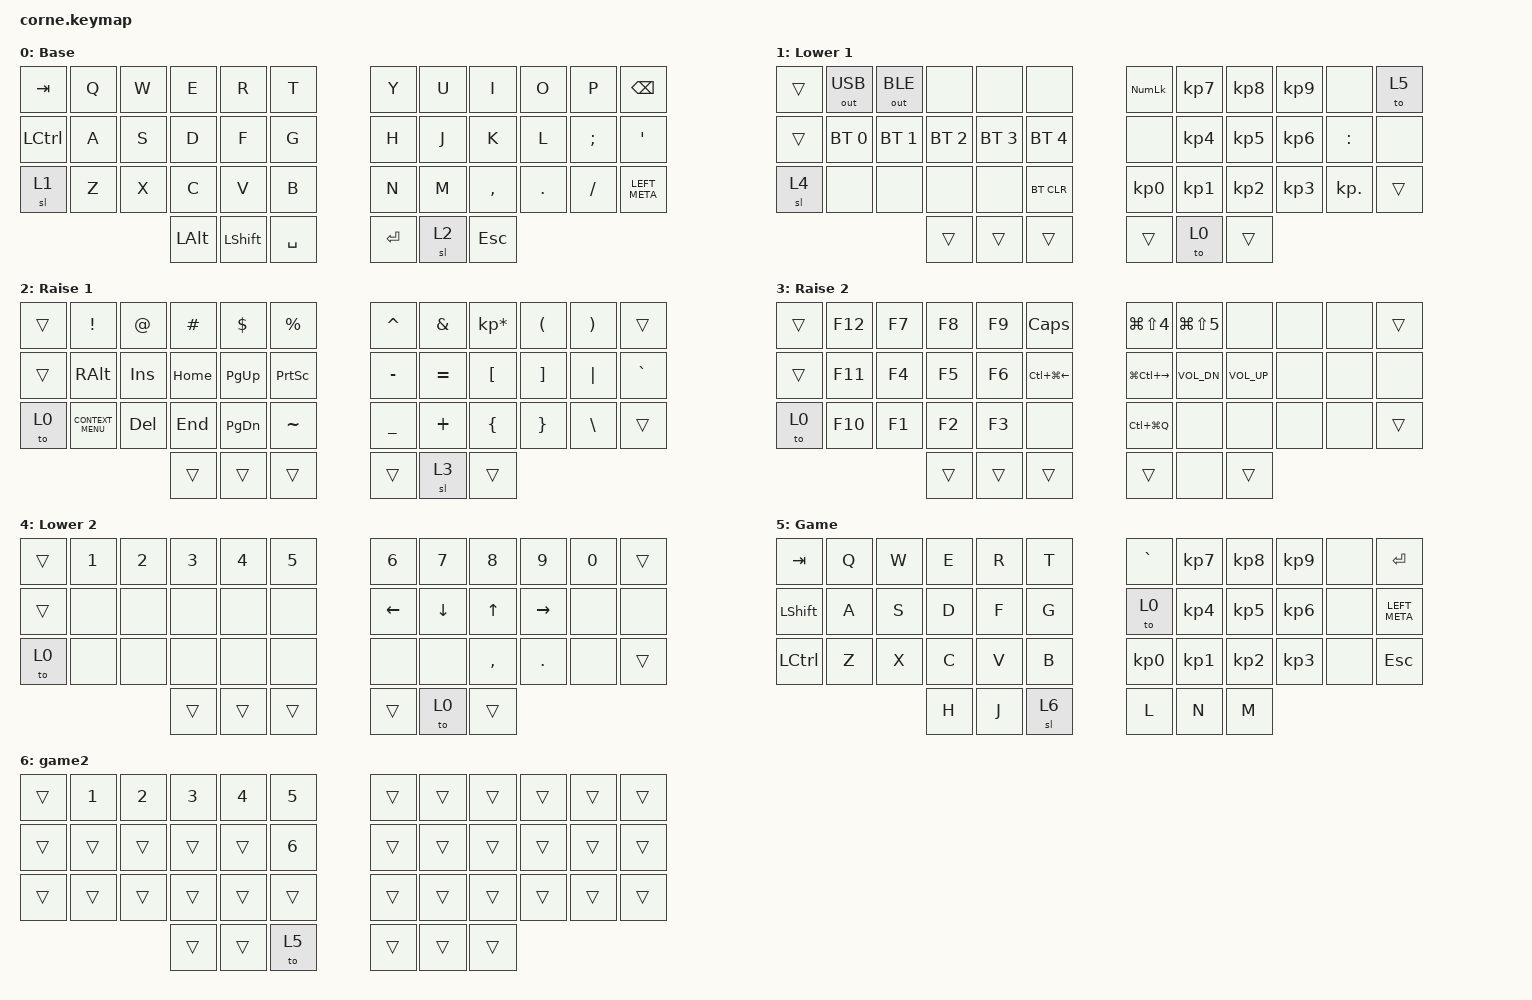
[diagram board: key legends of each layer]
/*
 * Copyright (c) 2020 The ZMK Contributors
 *
 * SPDX-License-Identifier: MIT
 */

#include <behaviors.dtsi>
#include <dt-bindings/zmk/bt.h>
#include <dt-bindings/zmk/keys.h>
#include <dt-bindings/zmk/outputs.h>

/ {
    combos { compatible = "zmk,combos"; };

    behaviors {
        bhv_left: bhv_left {
            compatible = "zmk,behavior-mod-morph";
            label = "BHV_LEFT";
            bindings = <&kp H>, <&kp LEFT>;

            #binding-cells = <0>;
            mods = <(MOD_LALT)>;
        };

        bhv_right: bhv_right {
            compatible = "zmk,behavior-mod-morph";
            label = "BHV_RIGHT";
            bindings = <&kp L>, <&kp RIGHT>;

            #binding-cells = <0>;
            mods = <(MOD_LALT)>;
        };

        bhv_down: bhv_down {
            compatible = "zmk,behavior-mod-morph";
            label = "BHV_DOWN";
            bindings = <&kp J>, <&kp DOWN>;

            #binding-cells = <0>;
            mods = <(MOD_LALT)>;
        };

        bhv_up: bhv_up {
            compatible = "zmk,behavior-mod-morph";
            label = "BHV_UP";
            bindings = <&kp K>, <&kp UP>;

            #binding-cells = <0>;
            mods = <(MOD_LALT)>;
        };
    };

    keymap {
        compatible = "zmk,keymap";

        base {
            // -----------------------------------------------------------------------------------------
            // |  TAB |  Q  |  W  |  E  |  R  |  T  |   |  Y  |  U   |  I  |  O  |  P  | BKSP |
            // | CTRL |  A  |  S  |  D  |  F  |  G  |   |  H  |  J   |  K  |  L  |  ;  |  '   |
            // | SHFT |  Z  |  X  |  C  |  V  |  B  |   |  N  |  M   |  ,  |  .  |  /  | ESC  |
            //                    | GUI | LWR | SPC |   | ENT | RSE  | ALT |

            display-name = "Base";
            bindings = <
&kp TAB    &kp Q  &kp W  &kp E         &kp R           &kp T        &kp Y      &kp U  &kp I       &kp O    &kp P     &kp BACKSPACE
&kp LCTRL  &kp A  &kp S  &kp D         &kp F           &kp G        &kp H      &kp J  &kp K       &kp L    &kp SEMI  &kp SQT
&sl 1      &kp Z  &kp X  &kp C         &kp V           &kp B        &kp N      &kp M  &kp COMMA   &kp DOT  &kp FSLH  &kp LEFT_META
                         &kp LEFT_ALT  &kp LEFT_SHIFT  &kp SPACE    &kp ENTER  &sl 2  &kp ESCAPE
            >;
        };

        l1 {
            // -----------------------------------------------------------------------------------------
            // |  TAB |  1  |  2  |  3  |  4  |  5  |   |  6  |  7  |  8  |  9  |  0  | BKSP |
            // | BTCLR| BT1 | BT2 | BT3 | BT4 | BT5 |   | LFT | DWN |  UP | RGT |     |      |
            // | SHFT |     |     |     |     |     |   |     |     |     |     |     |      |
            //                    | GUI |     | SPC |   | ENT |     | ALT |

            display-name = "Lower 1";
            bindings = <
&trans  &out OUT_USB  &out OUT_BLE  &none         &none         &none           &kp KP_NUMLOCK   &kp KP_NUMBER_7  &kp KP_NUMBER_8  &kp KP_NUMBER_9  &none       &to 5
&trans  &bt BT_SEL 0  &bt BT_SEL 1  &bt BT_SEL 2  &bt BT_SEL 3  &bt BT_SEL 4    &none            &kp KP_NUMBER_4  &kp KP_NUMBER_5  &kp KP_NUMBER_6  &kp COLON   &none
&sl 4   &none         &none         &none         &none         &bt BT_CLR      &kp KP_NUMBER_0  &kp KP_NUMBER_1  &kp KP_NUMBER_2  &kp KP_NUMBER_3  &kp KP_DOT  &trans
                                    &trans        &trans        &trans          &trans           &to 0            &trans
            >;
        };

        r1 {
            // -----------------------------------------------------------------------------------------
            // |  TAB |  !  |  @  |  #  |  $  |  %  |   |  ^  |  &  |  *  |  (  |  )  | BKSP |
            // | CTRL |     |     |     |     |     |   |  -  |  =  |  [  |  ]  |  \  |  `   |
            // | SHFT |     |     |     |     |     |   |  _  |  +  |  {  |  }  | "|" |  ~   |
            //                    | GUI |     | SPC |   | ENT |     | ALT |

            display-name = "Raise 1";
            bindings = <
&trans  &kp EXCL            &kp AT   &kp HASH  &kp DLLR       &kp PRCNT          &kp CARET  &kp AMPS   &kp KP_MULTIPLY  &kp LPAR  &kp RPAR       &trans
&trans  &kp RALT            &kp INS  &kp HOME  &kp PAGE_UP    &kp PRINTSCREEN    &kp MINUS  &kp EQUAL  &kp LBKT         &kp RBKT  &kp PIPE       &kp GRAVE
&to 0   &kp K_CONTEXT_MENU  &kp DEL  &kp END   &kp PAGE_DOWN  &kp TILDE          &kp UNDER  &kp PLUS   &kp LBRC         &kp RBRC  &kp BACKSLASH  &trans
                                     &trans    &trans         &trans             &trans     &sl 3      &trans
            >;
        };

        r2 {
            bindings = <
&trans  &kp F12  &kp F7  &kp F8  &kp F9  &kp CAPSLOCK        &kp LG(LS(NUMBER_4))  &kp LG(LS(N5))  &none            &none  &none  &trans
&trans  &kp F11  &kp F4  &kp F5  &kp F6  &kp LC(LG(LEFT))    &kp LG(LC(RIGHT))     &kp C_VOL_DN    &kp C_VOLUME_UP  &none  &none  &none
&to 0   &kp F10  &kp F1  &kp F2  &kp F3  &none               &kp LC(LG(Q))         &none           &none            &none  &none  &trans
                         &trans  &trans  &trans              &trans                &none           &trans
            >;

            label = "Raise 2";
        };

        L2 {
            bindings = <
&trans  &kp NUMBER_1  &kp NUMBER_2  &kp NUMBER_3  &kp NUMBER_4  &kp N5    &kp NUMBER_6  &kp N7          &kp N8        &kp N9      &kp N0  &trans
&trans  &none         &none         &none         &none         &none     &kp LEFT      &kp DOWN_ARROW  &kp UP_ARROW  &kp RIGHT   &none   &none
&to 0   &none         &none         &none         &none         &none     &none         &none           &kp COMMA     &kp PERIOD  &none   &trans
                                    &trans        &trans        &trans    &trans        &to 0           &trans
            >;

            label = "Lower 2";
        };

        game {
            display-name = "Game";
            bindings = <
&kp TAB           &kp Q  &kp W  &kp E  &kp R  &kp T    &kp GRAVE        &kp KP_NUMBER_7  &kp KP_NUMBER_8  &kp KP_NUMBER_9  &none  &kp ENTER
&kp LEFT_SHIFT    &kp A  &kp S  &kp D  &kp F  &kp G    &to 0            &kp KP_NUMBER_4  &kp KP_NUMBER_5  &kp KP_NUMBER_6  &none  &kp LEFT_META
&kp LEFT_CONTROL  &kp Z  &kp X  &kp C  &kp V  &kp B    &kp KP_NUMBER_0  &kp KP_NUMBER_1  &kp KP_NUMBER_2  &kp KP_N3        &none  &kp ESCAPE
                                &kp H  &kp J  &sl 6    &kp L            &kp N            &kp M
            >;
        };

        game2 {
            bindings = <
&trans  &kp NUMBER_1  &kp NUMBER_2  &kp NUMBER_3  &kp NUMBER_4  &kp N5          &trans  &trans  &trans  &trans  &trans  &trans
&trans  &trans        &trans        &trans        &trans        &kp NUMBER_6    &trans  &trans  &trans  &trans  &trans  &trans
&trans  &trans        &trans        &trans        &trans        &trans          &trans  &trans  &trans  &trans  &trans  &trans
                                    &trans        &trans        &to 5           &trans  &trans  &trans
            >;
        };
    };
};
